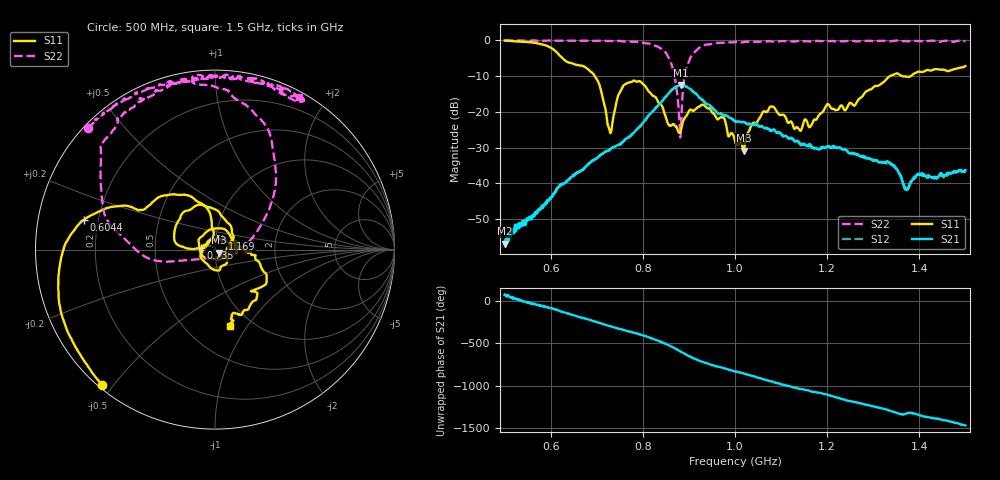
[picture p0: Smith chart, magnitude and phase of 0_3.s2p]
!Agilent Technologies,E8364B,US42250235,A.06.04.32
!Agilent E8364B: A.06.04.32
!Date: Friday, January 15, 2021 16:11:44
!Correction: S11(Full 2 Port(1,2)) S21(Full 2 Port(1,2)) S12(Full 2 Port(1,2)) S22(Full 2 Port(1,2))
!S2P File: Measurements: S11, S21, S12, S22:
# Hz S  dB  R 50
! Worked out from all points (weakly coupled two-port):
!   1601 points, 500 MHz to 1.5 GHz, reference 50 ohm
!   highest |S21| = -12.57 dB at 882.5 MHz (marker M1); lowest = -56.9 dB at 500 MHz (marker M2)
!   lowest |S11| = -30.8 dB at 1.019 GHz (marker M3), VSWR 1.06, Z = 52.3 - j1.82 ohm
!   |S11| at or under -10 dB: 695.3 MHz to 1.337 GHz (642.2 MHz wide, 63.2 % of centre); 1.361 GHz to 1.382 GHz (21.56 MHz wide, 1.57 % of centre)
!   |S22| runs from -27.2 to -0.1 dB; largest |S21 - S12| = 0.0074
!   S11 on the Smith chart (normalised r, x): 500 MHz: 0.01, -0.47; 604.4 MHz: 0.14, +0.11; 735 MHz: 0.86, +0.02; 1.169 GHz: 1.08, +0.13; 1.5 GHz: 0.80, -0.83
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5e8  -0.16 -129.7  -56.85 72.2  -56.05 62.9  -0.15 136.2
5.6625e8  -0.80 -162.9  -48.11 -39.6  -48.63 -38.2  -0.17 129.4
6.04375e8  -2.49 167.3  -43.44 -88.0  -43.18 -89.0  -0.20 125.2
6.66875e8  -7.17 143.5  -36.40 164.5  -36.48 164.6  -0.21 116.5
7.03125e8  -11.66 105.1  -32.64 106.6  -32.68 107.1  -0.21 113.2
7.275e8  -25.02 122.7  -30.72 65.9  -30.62 65.7  -0.28 108.7
7.35e8  -22.21 172.6  -29.93 53.5  -29.98 54.4  -0.33 107.8
7.66875e8  -12.02 152.7  -27.37 6.2  -27.28 7.7  -0.44 100.5
8.3375e8  -17.40 45.5  -18.16 -108.6  -18.19 -107.7  -1.99 74.3
8.61875e8  -23.85 -16.3  -13.99 -175.1  -14.10 -173.6  -6.63 44.6
8.825e8  -25.19 -118.7  -12.57 123.6  -12.62 125.0  -25.11 -121.5
8.925e8  -21.50 -176.8  -12.80 93.4  -12.87 94.8  -9.00 -170.8
9.08125e8  -19.72 133.6  -14.25 50.4  -14.28 52.1  -3.91 163.5
9.51875e8  -20.40 19.2  -19.24 -35.9  -19.05 -35.1  -1.02 127.7
1e9  -28.29 -33.5  -22.75 -108.2  -22.63 -106.9  -0.55 115.4
1.01875e9  -30.83 -37.2  -22.81 -133.7  -22.97 -133.2  -0.61 110.8
1.07875e9  -18.54 -79.2  -25.41 135.6  -25.10 135.5  -0.38 105.1
1.166875e9  -23.47 55.2  -29.80 12.5  -29.85 16.7  -0.37 91.4
1.169375e9  -22.81 55.0  -30.22 11.2  -29.94 13.5  -0.32 90.8
1.33375e9  -10.27 -24.8  -34.20 152.9  -34.33 152.9  -0.37 77.0
1.371875e9  -10.22 -48.5  -41.75 116.2  -42.17 115.1  -0.32 73.3
1.5e9  -7.29 -78.9  -36.31 -24.4  -36.82 -26.9  -0.27 61.2
